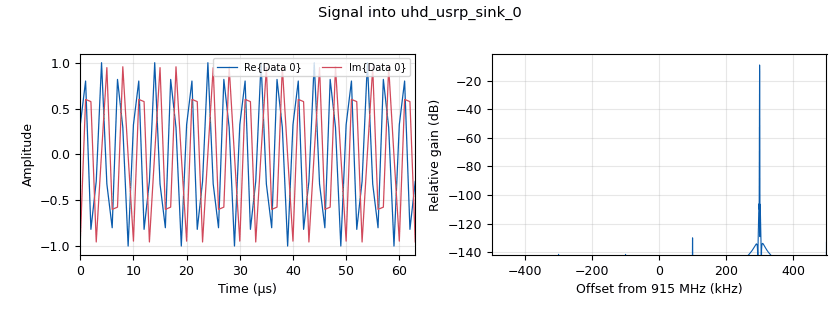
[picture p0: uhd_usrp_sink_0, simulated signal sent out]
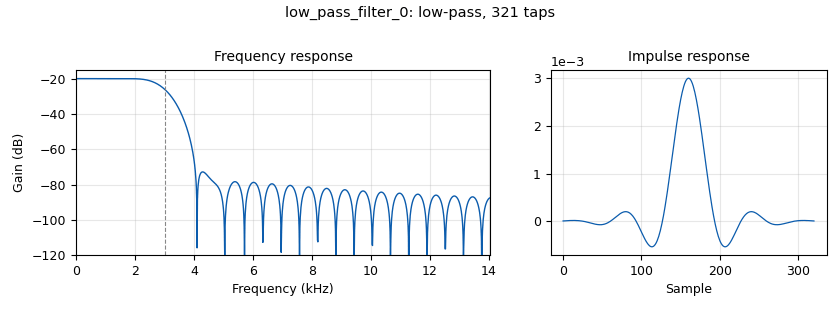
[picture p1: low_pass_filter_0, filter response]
options:
  parameters:
    author: ebaum
    generate_options: qt_gui
    id: top_block
    output_language: python
    title: Not titled yet
  states: {}

blocks:
- name: center_freq
  id: variable
  parameters:
    value: 915e6
  states: {}
- name: filter_samp_rate
  id: variable
  parameters:
    value: 30e3
  states: {}
- name: freq_offset
  id: variable_qtgui_entry
  parameters:
    label: Freq Offset (Hz)
    type: real
    value: '-1400'
  states: {}
- name: moving_avg_len
  id: variable
  parameters:
    value: int(filter_samp_rate/symbol_rate * 10)
  states: {}
- name: oversample
  id: variable
  parameters:
    value: '4'
  states: {}
- name: pulse_width_hz
  id: variable_qtgui_entry
  parameters:
    gui_hint: 2,3,1,1
    label: pulse width (hz)
    type: int
    value: int(1.5 * symbol_rate)
  states: {}
- name: rx_gain
  id: variable_qtgui_range
  parameters:
    gui_hint: 2,2,1,1
    label: RX gain (dB)
    orient: Qt.Horizontal
    start: '0'
    step: '1'
    stop: '76'
    value: '25'
  states: {}
- name: samp_rate
  id: variable
  parameters:
    value: 200e3
  states: {}
- name: scatter_center_freq
  id: variable_qtgui_entry
  parameters:
    gui_hint: 1,2,1,1
    label: Scatter Freq (Hz)
    type: real
    value: '149545.76'
  states: {}
- name: sps
  id: variable
  parameters:
    value: int(filter_samp_rate/symbol_rate)
  states: {}
- name: symbol_rate
  id: variable
  parameters:
    value: 2e3
  states: {}
- name: tone_freq
  id: variable
  parameters:
    value: tone_freq_khz * 1e3
  states: {}
- name: tone_freq_khz
  id: variable_qtgui_entry
  parameters:
    gui_hint: 1,1,1,1
    label: Tone Freq (kHz)
    type: real
    value: '300'
  states: {}
- name: tx_gain
  id: variable_qtgui_range
  parameters:
    gui_hint: 2,1,1,1
    label: TX gain (dB)
    orient: Qt.Horizontal
    start: '0'
    step: '1'
    stop: '89'
    value: '89'
  states: {}
- name: tx_samp_rate
  id: variable
  parameters:
    value: 1e6
  states: {}
- name: analog_sig_source_x_0
  id: analog_sig_source_x
  parameters:
    amp: '1'
    freq: tone_freq
    offset: '0'
    phase: '0'
    samp_rate: tx_samp_rate
    type: complex
    waveform: analog.GR_COS_WAVE
  states: {}
- name: analog_sig_source_x_1
  id: analog_sig_source_x
  parameters:
    amp: '1'
    freq: '-freq_offset'
    offset: '0'
    phase: '0'
    samp_rate: samp_rate
    type: complex
    waveform: analog.GR_COS_WAVE
  states: {}
- name: blocks_complex_to_mag_0
  id: blocks_complex_to_mag
  parameters: {}
  states: {}
- name: blocks_file_sink_0
  id: blocks_file_sink
  parameters:
    file: /Users/ebaum/Documents/capstone/iq/tmp_ask-fulldata-30k.iq
    type: float
  states: {state: disabled}
- name: blocks_moving_average_xx_0
  id: blocks_moving_average_xx
  parameters:
    length: moving_avg_len
    max_iter: 5 * moving_avg_len
    scale: 1/moving_avg_len
    type: float
  states: {}
- name: blocks_multiply_xx_0
  id: blocks_multiply_xx
  parameters:
    type: complex
  states: {}
- name: blocks_null_source_0
  id: blocks_null_source
  parameters:
    type: float
  states: {}
- name: blocks_sub_xx_0
  id: blocks_sub_xx
  parameters:
    type: float
  states: {}
- name: blocks_udp_sink_0
  id: blocks_udp_sink
  parameters:
    eof: 'True'
    ipaddr: 127.0.0.1
    port: '5555'
    psize: '1024'
    type: float
    vlen: '1'
  states: {}
- name: low_pass_filter_0
  id: low_pass_filter
  parameters:
    cutoff_freq: pulse_width_hz
    decim: int(samp_rate/filter_samp_rate)
    gain: '0.1'
    samp_rate: samp_rate
    type: fir_filter_ccf
    width: pulse_width_hz * 0.5
    win: firdes.WIN_HAMMING
  states: {}
- name: qtgui_freq_sink_x_0
  id: qtgui_freq_sink_x
  parameters:
    bw: samp_rate
    ctrlpanel: 'True'
    fc: '0'
    fftsize: '1024'
    type: complex
    wintype: firdes.WIN_BLACKMAN_hARRIS
  states: {}
- name: qtgui_freq_sink_x_1
  id: qtgui_freq_sink_x
  parameters:
    bw: filter_samp_rate
    fc: '0'
    fftsize: '1024'
    type: complex
    wintype: firdes.WIN_BLACKMAN_hARRIS
  states: {state: disabled}
- name: qtgui_time_sink_x_0
  id: qtgui_time_sink_x
  parameters:
    ctrlpanel: 'True'
    nconnections: '2'
    size: '1024'
    srate: filter_samp_rate
    type: float
  states: {}
- name: qtgui_waterfall_sink_x_0
  id: qtgui_waterfall_sink_x
  parameters:
    bw: samp_rate
    fc: '0'
    fftsize: '1024'
    type: complex
    wintype: firdes.WIN_BLACKMAN_hARRIS
  states: {}
- name: uhd_usrp_sink_0
  id: uhd_usrp_sink
  parameters:
    ant0: TX/RX
    center_freq0: center_freq
    dev_args: '""'
    gain0: tx_gain
    len_tag_name: ''
    norm_gain0: 'False'
    samp_rate: tx_samp_rate
    sync: sync
    type: fc32
  states: {}
- name: uhd_usrp_source_0
  id: uhd_usrp_source
  parameters:
    ant0: RX2
    center_freq0: center_freq + tone_freq + scatter_center_freq
    dc_offs_enb0: '""'
    dev_args: '""'
    gain0: rx_gain
    iq_imbal_enb0: '""'
    norm_gain0: 'False'
    samp_rate: samp_rate
    sync: sync
    type: fc32
  states: {}

connections:
- [analog_sig_source_x_0, '0', uhd_usrp_sink_0, '0']
- [analog_sig_source_x_1, '0', blocks_multiply_xx_0, '1']
- [blocks_complex_to_mag_0, '0', blocks_moving_average_xx_0, '0']
- [blocks_complex_to_mag_0, '0', blocks_sub_xx_0, '0']
- [blocks_moving_average_xx_0, '0', blocks_sub_xx_0, '1']
- [blocks_multiply_xx_0, '0', low_pass_filter_0, '0']
- [blocks_multiply_xx_0, '0', qtgui_freq_sink_x_0, '0']
- [blocks_multiply_xx_0, '0', qtgui_waterfall_sink_x_0, '0']
- [blocks_null_source_0, '0', qtgui_time_sink_x_0, '1']
- [blocks_sub_xx_0, '0', blocks_file_sink_0, '0']
- [blocks_sub_xx_0, '0', blocks_udp_sink_0, '0']
- [blocks_sub_xx_0, '0', qtgui_time_sink_x_0, '0']
- [low_pass_filter_0, '0', blocks_complex_to_mag_0, '0']
- [low_pass_filter_0, '0', qtgui_freq_sink_x_1, '0']
- [uhd_usrp_source_0, '0', blocks_multiply_xx_0, '0']

metadata:
  file_format: 1
